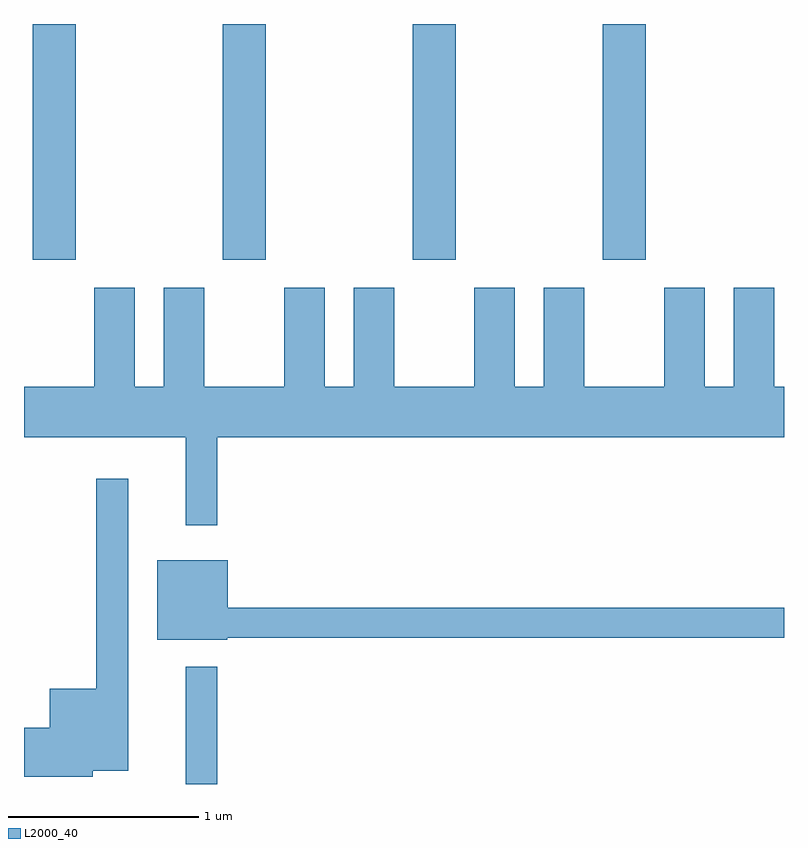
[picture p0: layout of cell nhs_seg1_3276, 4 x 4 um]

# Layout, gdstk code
import gdstk
lib = gdstk.Library(unit=1e-6, precision=1e-09)
def R(c, l, rs):  # rectangles x0, y0, x1, y1
    for r in rs: c.add(gdstk.rectangle(r[:2], r[2:], *l))
def A(c, l, x, y, w, h, nx, ny, dx, dy):  # array of equal rectangles
    R(c, l, [(x+i*dx, y+j*dy, x+i*dx+w, y+j*dy+h) for i in range(nx) for j in range(ny)])
def P(c, l, *ps):  # polygons
    for p in ps: c.add(gdstk.Polygon(p, *l))
L2000_40 = (2000, 40)

nhs_seg1_3276 = lib.new_cell('nhs_seg1_3276')
A(nhs_seg1_3276, L2000_40, 283.656, 940.471, 0.228, 1.241, 4, 1, 1, 0)
R(nhs_seg1_3276, L2000_40, [(284.461,937.712,284.629,938.328)])
P(nhs_seg1_3276, L2000_40, [(284.629,939.536),(287.611,939.536),(287.611,939.804),(287.559,939.804),(287.559,940.324),(287.346,940.324),(287.346,939.804),(287.194,939.804),(287.194,940.324),(286.981,940.324),(286.981,939.804),(286.559,939.804),(286.559,940.324),(286.346,940.324),(286.346,939.804),(286.194,939.804),(286.194,940.324),(285.981,940.324),(285.981,939.804),(285.559,939.804),(285.559,940.324),(285.346,940.324),(285.346,939.804),(285.194,939.804),(285.194,940.324),(284.981,940.324),(284.981,939.804),(284.559,939.804),(284.559,940.324),(284.346,940.324),(284.346,939.804),(284.194,939.804),(284.194,940.324),(283.981,940.324),(283.981,939.804),(283.611,939.804),(283.611,939.536),(284.461,939.536),(284.461,939.073),(284.629,939.073)],
  [(283.974,937.781),(284.159,937.781),(284.159,939.318),(283.991,939.318),(283.991,938.214),(283.746,938.214),(283.746,938.009),(283.611,938.009),(283.611,937.751),(283.974,937.751)],
  [(284.68,938.481),(287.611,938.481),(287.611,938.639),(284.684,938.639),(284.684,938.889),(284.311,938.889),(284.311,938.471),(284.68,938.471)])

lib.write_gds('nhs_seg1_3276.gds')
